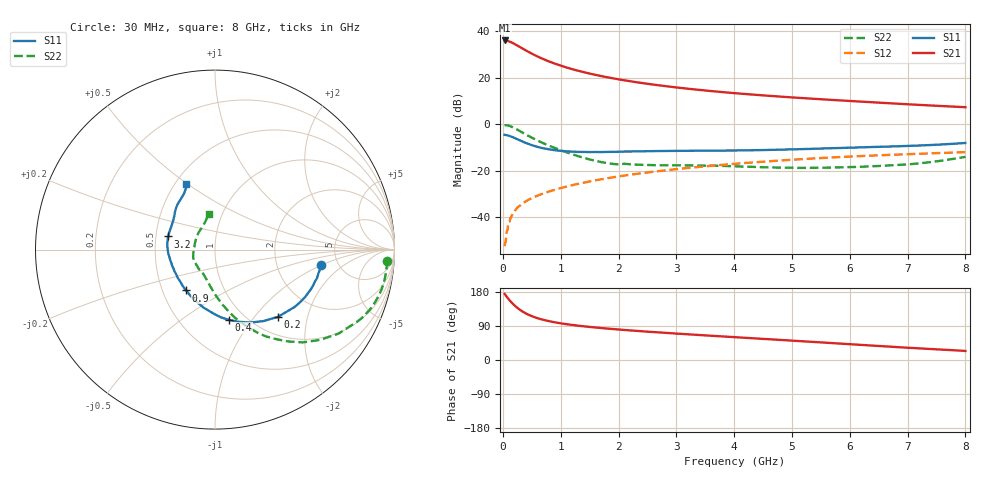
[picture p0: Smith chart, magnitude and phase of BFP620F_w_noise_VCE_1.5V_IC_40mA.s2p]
! Infineon Technologies  Discrete & RF Semiconductors
! BFP620F
! VCE =  1.5 V,  IC =  40 mA
! Common Emitter S-Parameters:  Dec 2014
# GHz  S  MA  R  50
!  f  S11  S21  S12  S22
! GHz  MAG  ANG  MAG  ANG  MAG  ANG  MAG  ANG
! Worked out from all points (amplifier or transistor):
!   95 points, 30 MHz to 8 GHz, reference 50 ohm
!   highest |S21| = 36.1 dB at 30 MHz (marker M1)
!   |S21| within 3 dB of that: start of sweep to 307.6 MHz
!   unconditionally stable (mu >= 1): 2.186 GHz to end of sweep
!   at 300 MHz: K = 0.44, MSG = 34.1 dB, |S12| = -34.8 dB
!   at 3.3 GHz: K = 1.03, MAG = 15.8 dB, |S12| = -18.5 dB
!   at 8 GHz: K = 1.05, MAG = 8.3 dB, |S12| = -11.9 dB
!   lowest NFmin = 1.36 dB at 450 MHz
!   S11 on the Smith chart (normalised r, x): 30 MHz: 3.72, -0.97; 200 MHz: 1.31, -1.33; 400 MHz: 0.84, -0.78; 900 MHz: 0.66, -0.33; 3.2 GHz: 0.58, +0.09; 8 GHz: 0.57, +0.50
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0.03  0.5991 -8.0  64.13 174.5  0.0024 86.7  0.9589 -3.7
0.07  0.5844 -17.8  63.29 166.4  0.0051 78.7  0.9574 -11.8
0.12  0.5619 -29.9  60.22 156.9  0.0085 78.1  0.9246 -21.3
0.15  0.544 -36.5  58.14 151.9  0.0107 79.6  0.8922 -26.4
0.2  0.5134 -46.8  54 144.3  0.0135 73.9  0.8326 -34.2
0.25  0.4807 -56.0  49.93 137.6  0.0162 71.4  0.7715 -40.7
0.3  0.4512 -64.3  45.99 131.9  0.0181 69.6  0.7117 -46.6
0.35  0.4229 -72.0  42.26 127.0  0.0206 68.2  0.6549 -51.4
0.4  0.3984 -79.0  39 122.7  0.0222 67.4  0.6038 -55.7
0.5  0.3584 -90.8  33.38 115.7  0.026 66.3  0.5193 -63.0
0.6  0.3288 -101.4  28.94 110.3  0.0294 65.8  0.4493 -68.7
0.7  0.3064 -110.2  25.45 106.0  0.0327 65.8  0.3942 -73.8
0.9  0.2784 -125.2  20.31 99.4  0.0393 65.5  0.3106 -82.1
1.1  0.2631 -137.4  16.81 94.5  0.0459 65.7  0.251 -89.7
1.4  0.2558 -151.7  13.32 88.9  0.0558 65.5  0.1911 -100.7
2  0.2582 -171.8  9.36 80.5  0.0761 63.7  0.1383 -125.4
2.7  0.2676 173.0  6.947 72.8  0.0992 60.4  0.1322 -145.1
3.2  0.2707 164.3  5.871 67.8  0.1157 57.6  0.1312 -153.9
4.1  0.2762 151.5  4.613 59.4  0.1449 52.1  0.1245 -166.8
5.4  0.3 138.5  3.547 47.4  0.186 43.1  0.1168 165.3
6.7  0.3349 126.2  2.851 35.2  0.2214 33.4  0.1316 133.9
8  0.3993 113.5  2.349 23.9  0.253 24.0  0.2003 100.1
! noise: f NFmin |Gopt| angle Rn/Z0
0.45  1.36  0.16  -173  0.16
0.9  1.38  0.16  -172  0.13
1.5  1.39  0.21  -152  0.11
1.8  1.4  0.21  -151  0.11
1.9  1.41  0.21  -150  0.11
2.4  1.43  0.21  214  0.13
3.5  1.49  0.22  220  0.17
5.5  1.63  0.27  247  0.17
6  1.67  0.28  261  0.2
